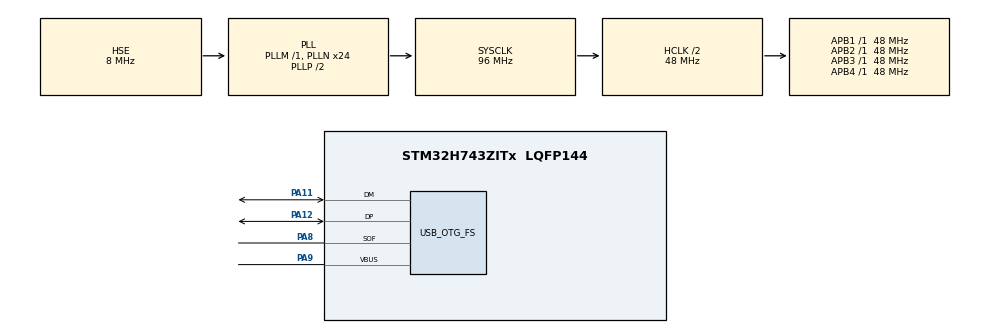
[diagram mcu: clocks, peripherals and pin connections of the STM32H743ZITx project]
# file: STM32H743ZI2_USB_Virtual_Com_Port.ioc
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Mcu.Family=STM32H7
Mcu.Name=STM32H743ZITx
Mcu.Package=LQFP144
NVIC.OTG_FS_IRQn=true\:0\:0\:false\:false\:true\:false\:true\:true
NVIC.PriorityGroup=NVIC_PRIORITYGROUP_4
PA11.Mode=Device_Only
PA11.Signal=USB_OTG_FS_DM
PA12.Mode=Device_Only
PA12.Signal=USB_OTG_FS_DP
PA8.Mode=Activate_SOF_FS
PA8.Signal=USB_OTG_FS_SOF
PA9.Mode=Activate_VBUS
PA9.Signal=USB_OTG_FS_VBUS
PB5.Signal=FDCAN2_RX
PB6.Signal=FDCAN2_TX
PH0-OSC_IN\ (PH0).Mode=HSE-External-Oscillator
PH0-OSC_IN\ (PH0).Signal=RCC_OSC_IN
PH1-OSC_OUT\ (PH1).Mode=HSE-External-Oscillator
PH1-OSC_OUT\ (PH1).Signal=RCC_OSC_OUT
ProjectManager.HeapSize=0x200
ProjectManager.StackSize=0x400
ProjectManager.TargetToolchain=STM32CubeIDE
RCC.ADCFreq_Value=16125000
RCC.APB1Freq_Value=48000000
RCC.APB2Freq_Value=48000000
RCC.APB3Freq_Value=48000000
RCC.APB4Freq_Value=48000000
RCC.CortexFreq_Value=96000000
RCC.DIVM1=1
RCC.DIVN1=24
RCC.DIVQ1=4
RCC.HCLKFreq_Value=48000000
RCC.HPRE=RCC_HCLK_DIV2
RCC.HSE_VALUE=8000000
RCC.PLL2FRACN=0
RCC.PLL3FRACN=0
RCC.PLLFRACN=0
RCC.SYSCLKFreq_VALUE=96000000
RCC.SYSCLKSource=RCC_SYSCLKSOURCE_PLLCLK
RCC.USBFreq_Value=48000000
USB_DEVICE.CLASS_NAME_FS=CDC
USB_DEVICE.VirtualMode-CDC_FS=Cdc
USB_DEVICE.VirtualModeFS=Cdc_FS
USB_OTG_FS.VirtualMode=Device_Only
VP_USB_DEVICE_VS_USB_DEVICE_CDC_FS.Mode=CDC_FS
board=custom

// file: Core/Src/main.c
/* USER CODE BEGIN Header */
/**
  ******************************************************************************
  * @file           : main.c
  * @brief          : Main program body
  ******************************************************************************
  * @attention
  *
  * <h2><center>&copy; Copyright (c) 2024 STMicroelectronics.
  * All rights reserved.</center></h2>
  *
  * This software component is licensed by ST under Ultimate Liberty license
  * SLA0044, the "License"; You may not use this file except in compliance with
  * the License. You may obtain a copy of the License at:
  *                             www.st.com/SLA0044
  *
  ******************************************************************************
  */
/* USER CODE END Header */
#include "main.h"
#include "usb_device.h"

/* USER CODE BEGIN Includes */
#include "usbd_cdc.h"
#include "usbd_cdc_if.h"
/* USER CODE END Includes */

/* USER CODE BEGIN PTD */
typedef struct
{
	uint8_t task50Hz;
	uint8_t task20Hz;
	uint8_t task10Hz;
	uint8_t task5Hz;
	uint8_t task1Hz;
	uint8_t task2Hz;
	uint32_t systemTime;
}Scheduler;
Scheduler schedule;

void CDC_ReceiveCallback(uint8_t *buf, uint32_t len)
{
	CDC_Transmit_FS(buf,len);
}
/* USER CODE END PTD */

void SystemClock_Config(void);
static void MX_GPIO_Init(void);

int main(void)
{

  /* MCU Configuration--------------------------------------------------------*/

  /* Reset of all peripherals, Initializes the Flash interface and the Systick. */
  HAL_Init();

  /* Configure the system clock */
  SystemClock_Config();

  /* Initialize all configured peripherals */
  MX_GPIO_Init();
  MX_USB_DEVICE_Init();

  /* Infinite loop */
  while (1)
  {

    /* USER CODE BEGIN 3 */
	  if(schedule.task1Hz)
	  {
		  CDC_Transmit_FS((uint8_t*)"some data",sizeof("some data"));
		  schedule.task1Hz = 0;
	  }
  }
  /* USER CODE END 3 */
}

void SystemClock_Config(void)
{
  RCC_OscInitTypeDef RCC_OscInitStruct = {0};
  RCC_ClkInitTypeDef RCC_ClkInitStruct = {0};

  /** Supply configuration update enable
  */
  HAL_PWREx_ConfigSupply(PWR_LDO_SUPPLY);
  /** Configure the main internal regulator output voltage
  */
  __HAL_PWR_VOLTAGESCALING_CONFIG(PWR_REGULATOR_VOLTAGE_SCALE3);

  while(!__HAL_PWR_GET_FLAG(PWR_FLAG_VOSRDY)) {}
  /** Initializes the RCC Oscillators according to the specified parameters
  * in the RCC_OscInitTypeDef structure.
  */
  RCC_OscInitStruct.OscillatorType = RCC_OSCILLATORTYPE_HSE;
  RCC_OscInitStruct.HSEState = RCC_HSE_ON;
  RCC_OscInitStruct.PLL.PLLState = RCC_PLL_ON;
  RCC_OscInitStruct.PLL.PLLSource = RCC_PLLSOURCE_HSE;
  RCC_OscInitStruct.PLL.PLLM = 1;
  RCC_OscInitStruct.PLL.PLLN = 24;
  RCC_OscInitStruct.PLL.PLLP = 2;
  RCC_OscInitStruct.PLL.PLLQ = 4;
  RCC_OscInitStruct.PLL.PLLR = 2;
  RCC_OscInitStruct.PLL.PLLRGE = RCC_PLL1VCIRANGE_3;
  RCC_OscInitStruct.PLL.PLLVCOSEL = RCC_PLL1VCOWIDE;
  RCC_OscInitStruct.PLL.PLLFRACN = 0;
  if (HAL_RCC_OscConfig(&RCC_OscInitStruct) != HAL_OK)
  {
    Error_Handler();
  }
  /** Initializes the CPU, AHB and APB buses clocks
  */
  RCC_ClkInitStruct.ClockType = RCC_CLOCKTYPE_HCLK|RCC_CLOCKTYPE_SYSCLK
                              |RCC_CLOCKTYPE_PCLK1|RCC_CLOCKTYPE_PCLK2
                              |RCC_CLOCKTYPE_D3PCLK1|RCC_CLOCKTYPE_D1PCLK1;
  RCC_ClkInitStruct.SYSCLKSource = RCC_SYSCLKSOURCE_PLLCLK;
  RCC_ClkInitStruct.SYSCLKDivider = RCC_SYSCLK_DIV1;
  RCC_ClkInitStruct.AHBCLKDivider = RCC_HCLK_DIV2;
  RCC_ClkInitStruct.APB3CLKDivider = RCC_APB3_DIV1;
  RCC_ClkInitStruct.APB1CLKDivider = RCC_APB1_DIV1;
  RCC_ClkInitStruct.APB2CLKDivider = RCC_APB2_DIV1;
  RCC_ClkInitStruct.APB4CLKDivider = RCC_APB4_DIV1;

  if (HAL_RCC_ClockConfig(&RCC_ClkInitStruct, FLASH_LATENCY_1) != HAL_OK)
  {
    Error_Handler();
  }
}

static void MX_GPIO_Init(void)
{
  GPIO_InitTypeDef GPIO_InitStruct = {0};

  /* GPIO Ports Clock Enable */
  __HAL_RCC_GPIOH_CLK_ENABLE();
  __HAL_RCC_GPIOA_CLK_ENABLE();
  __HAL_RCC_GPIOB_CLK_ENABLE();

  /*Configure GPIO pins : PB5 PB6 */
  GPIO_InitStruct.Pin = GPIO_PIN_5|GPIO_PIN_6;
  GPIO_InitStruct.Mode = GPIO_MODE_AF_PP;
  GPIO_InitStruct.Pull = GPIO_NOPULL;
  GPIO_InitStruct.Speed = GPIO_SPEED_FREQ_LOW;
  GPIO_InitStruct.Alternate = GPIO_AF9_FDCAN2;
  HAL_GPIO_Init(GPIOB, &GPIO_InitStruct);

}

/* USER CODE BEGIN 4 */
void HAL_SYSTICK_Callback(void)
{
	schedule.systemTime++;

	if(schedule.systemTime % 20 == 0)
		schedule.task50Hz = 1;

	if(schedule.systemTime % 50 == 0)
		schedule.task20Hz = 1;

	if(schedule.systemTime % 100 == 0)
		schedule.task10Hz = 1;

	if(schedule.systemTime % 200 == 0)
		schedule.task5Hz = 1;

	if(schedule.systemTime % 500 == 0)
		schedule.task2Hz = 1;

	if(schedule.systemTime % 1000 == 0)
		schedule.task1Hz = 1;
}
/* USER CODE END 4 */

void Error_Handler(void)
{
  __disable_irq();
  while (1)
  {
  }
}

/************************ (C) COPYRIGHT STMicroelectronics *****END OF FILE****/
